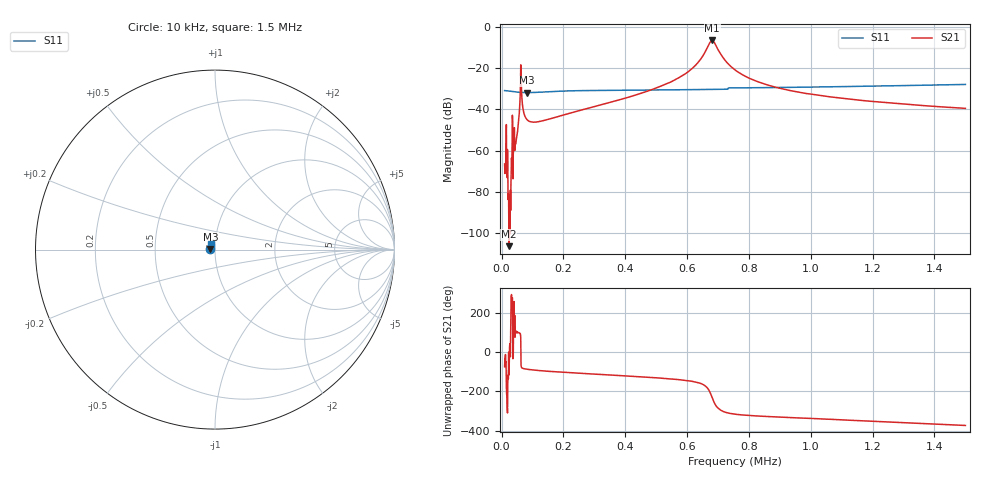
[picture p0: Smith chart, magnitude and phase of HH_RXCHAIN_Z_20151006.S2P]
!Agilent Technologies,E5061B,MY49203226,A.02.09
!Date: Wed Oct 07 10:29:06 2015
!Data & Calibration Information:
!Freq	S11:RESPS(ON)	S21:RESPT(ON)	S12:NONE(--)	S22:NONE(--)
# Hz S dB R 50
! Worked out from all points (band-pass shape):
!   1600 points, 10 kHz to 1.5 MHz, reference 50 ohm
!   highest |S21| = -6.71 dB at 680.9 kHz (marker M1); lowest = -106.2 dB at 23.98 kHz (marker M2)
!   |S21| within 3 dB of the highest: 667.1 kHz to 695.2 kHz (28.1 kHz wide, 4.13 % of centre)
!   lowest |S11| = -31.9 dB at 81.75 kHz (marker M3), VSWR 1.05, Z = 47.5 + j0.156 ohm
!   |S11| at or under -10 dB: start of sweep to end of sweep
!   S12 and S22 are empty: the file has one direction only
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10000  -30.97 178.6  -66.44 -75.3  -200.00 0.0  -200.00 0.0
23977.49  -31.18 176.5  -106.22 -116.6  -200.00 0.0  -200.00 0.0
29568.48  -31.30 175.9  -88.92 95.5  -200.00 0.0  -200.00 0.0
38886.8  -31.49 175.4  -59.83 139.8  -200.00 0.0  -200.00 0.0
50068.79  -31.69 175.2  -52.29 103.3  -200.00 0.0  -200.00 0.0
56591.62  -31.78 175.3  -43.31 97.8  -200.00 0.0  -200.00 0.0
61250.78  -31.83 175.5  -28.49 90.0  -200.00 0.0  -200.00 0.0
67773.61  -31.88 175.7  -37.85 -82.3  -200.00 0.0  -200.00 0.0
73364.6  -31.91 176.0  -42.38 -84.9  -200.00 0.0  -200.00 0.0
81751.09  -31.93 176.3  -44.91 -87.0  -200.00 0.0  -200.00 0.0
117160.7  -31.80 177.3  -46.07 -93.4  -200.00 0.0  -200.00 0.0
258799.2  -30.98 170.7  -40.36 -108.5  -200.00 0.0  -200.00 0.0
506666.7  -30.65 157.6  -29.33 -131.6  -200.00 0.0  -200.00 0.0
599849.9  -30.52 153.4  -22.26 -145.1  -200.00 0.0  -200.00 0.0
652964.4  -30.43 151.3  -13.71 -166.0  -200.00 0.0  -200.00 0.0
680919.3  -30.39 150.2  -6.71 129.6  -200.00 0.0  -200.00 0.0
702351.5  -30.35 149.3  -11.73 72.6  -200.00 0.0  -200.00 0.0
755465.9  -29.65 147.9  -21.00 44.4  -200.00 0.0  -200.00 0.0
852376.5  -29.53 144.2  -27.88 33.3  -200.00 0.0  -200.00 0.0
1004265  -29.25 139.3  -32.73 23.0  -200.00 0.0  -200.00 0.0
1252133  -28.67 132.5  -36.90 4.8  -200.00 0.0  -200.00 0.0
1500000  -27.99 126.7  -39.56 -12.6  -200.00 0.0  -200.00 0.0
